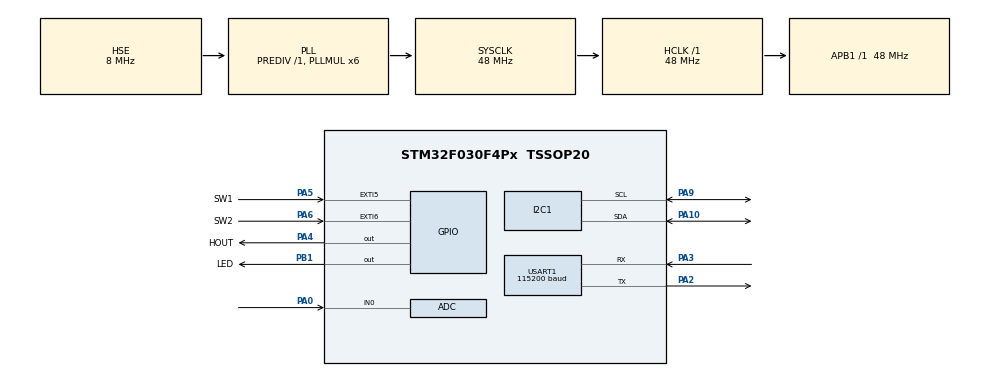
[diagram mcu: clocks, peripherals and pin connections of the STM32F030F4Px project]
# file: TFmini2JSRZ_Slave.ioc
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ADC.ClockPrescaler=ADC_CLOCK_ASYNC_DIV1
ADC.ContinuousConvMode=ENABLE
ADC.DMAContinuousRequests=ENABLE
ADC.DataAlign=ADC_DATAALIGN_RIGHT
ADC.DiscontinuousConvMode=DISABLE
ADC.EOCSelection=ADC_EOC_SINGLE_CONV
ADC.EnableAnalogWatchDog=false
ADC.ExternalTrigConv=ADC_SOFTWARE_START
ADC.ExternalTrigConvEdge=ADC_EXTERNALTRIGCONVEDGE_NONE
ADC.LowPowerAutoPowerOff=DISABLE
ADC.LowPowerAutoWait=DISABLE
ADC.Overrun=ADC_OVR_DATA_PRESERVED
ADC.Resolution=ADC_RESOLUTION_12B
ADC.SamplingTime=ADC_SAMPLETIME_13CYCLES_5
ADC.ScanConvMode=ADC_SCAN_DIRECTION_FORWARD
Dma.ADC.0.Direction=DMA_PERIPH_TO_MEMORY
Dma.ADC.0.Instance=DMA1_Channel1
Dma.ADC.0.MemDataAlignment=DMA_MDATAALIGN_WORD
Dma.ADC.0.MemInc=DMA_MINC_ENABLE
Dma.ADC.0.Mode=DMA_CIRCULAR
Dma.ADC.0.PeriphDataAlignment=DMA_PDATAALIGN_WORD
Dma.ADC.0.PeriphInc=DMA_PINC_DISABLE
Dma.ADC.0.Priority=DMA_PRIORITY_LOW
Dma.Request0=ADC
I2C1.I2C_Fall_Time=100
I2C1.I2C_Rise_Time=100
I2C1.OwnAddress=0x59
I2C1.Timing=0x00201D2B
Mcu.Family=STM32F0
Mcu.Name=STM32F030F4Px
Mcu.Package=TSSOP20
NVIC.DMA1_Channel1_IRQn=true\:0\:0\:false\:false\:true\:false
NVIC.EXTI4_15_IRQn=true\:2\:0\:true\:false\:true\:true
NVIC.I2C1_IRQn=true\:1\:0\:true\:false\:true\:true
NVIC.TIM14_IRQn=true\:3\:0\:true\:false\:true\:true
NVIC.USART1_IRQn=true\:0\:0\:false\:false\:true\:true
PA0.Mode=IN0
PA0.Signal=ADC_IN0
PA10.Mode=I2C
PA10.Signal=I2C1_SDA
PA13.Mode=Serial_Wire
PA13.Signal=SYS_SWDIO
PA14.Mode=Serial_Wire
PA14.Signal=SYS_SWCLK
PA2.Mode=Asynchronous
PA2.Signal=USART1_TX
PA3.Mode=Asynchronous
PA3.Signal=USART1_RX
PA4.GPIO_Label=HOUT
PA4.GPIO_PuPd=GPIO_NOPULL
PA4.Signal=GPIO_Output
PA5.GPIO_Label=SW1
PA5.GPIO_ModeDefaultEXTI=GPIO_MODE_IT_RISING_FALLING
PA5.GPIO_PuPd=GPIO_PULLUP
PA5.Signal=GPXTI5
PA6.GPIO_Label=SW2
PA6.GPIO_ModeDefaultEXTI=GPIO_MODE_IT_RISING_FALLING
PA6.GPIO_PuPd=GPIO_PULLUP
PA6.Signal=GPXTI6
PA9.Mode=I2C
PA9.Signal=I2C1_SCL
PB1.GPIO_Label=LED
PB1.Signal=GPIO_Output
PF0-OSC_IN.Mode=HSE-External-Oscillator
PF0-OSC_IN.Signal=RCC_OSC_IN
PF1-OSC_OUT.Mode=HSE-External-Oscillator
PF1-OSC_OUT.Signal=RCC_OSC_OUT
ProjectManager.HeapSize=0x200
ProjectManager.StackSize=0x400
ProjectManager.TargetToolchain=MDK-ARM V5
RCC.AHBFreq_Value=48000000
RCC.APB1Freq_Value=48000000
RCC.APB1TimFreq_Value=48000000
RCC.HCLKFreq_Value=48000000
RCC.PLLMUL=RCC_PLL_MUL6
RCC.PLLSourceVirtual=RCC_PLLSOURCE_HSE
RCC.SYSCLKFreq_VALUE=48000000
RCC.SYSCLKSource=RCC_SYSCLKSOURCE_PLLCLK
TIM14.Period=10-1
TIM14.Prescaler=4800-1
USART1.BaudRate=115200
USART1.VirtualMode-Asynchronous=VM_ASYNC
VP_TIM14_VS_ClockSourceINT.Mode=Enable_Timer
board=TFmini2JSRZ_Slave

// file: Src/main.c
/**
  ******************************************************************************
  * File Name          : main.c
  * Description        : Main program body
  ******************************************************************************
  ** This notice applies to any and all portions of this file
  * that are not between comment pairs USER CODE BEGIN and
  * USER CODE END. Other portions of this file, whether
  * inserted by the user or by software development tools
  * are owned by their respective copyright owners.
  *
  * COPYRIGHT(c) 2018 STMicroelectronics
  *
  * Redistribution and use in source and binary forms, with or without modification,
  * are permitted provided that the following conditions are met:
  *   1. Redistributions of source code must retain the above copyright notice,
  *      this list of conditions and the following disclaimer.
  *   2. Redistributions in binary form must reproduce the above copyright notice,
  *      this list of conditions and the following disclaimer in the documentation
  *      and/or other materials provided with the distribution.
  *   3. Neither the name of STMicroelectronics nor the names of its contributors
  *      may be used to endorse or promote products derived from this software
  *      without specific prior written permission.
  *
  * THIS SOFTWARE IS PROVIDED BY THE COPYRIGHT HOLDERS AND CONTRIBUTORS "AS IS"
  * AND ANY EXPRESS OR IMPLIED WARRANTIES, INCLUDING, BUT NOT LIMITED TO, THE
  * IMPLIED WARRANTIES OF MERCHANTABILITY AND FITNESS FOR A PARTICULAR PURPOSE ARE
  * DISCLAIMED. IN NO EVENT SHALL THE COPYRIGHT HOLDER OR CONTRIBUTORS BE LIABLE
  * FOR ANY DIRECT, INDIRECT, INCIDENTAL, SPECIAL, EXEMPLARY, OR CONSEQUENTIAL
  * DAMAGES (INCLUDING, BUT NOT LIMITED TO, PROCUREMENT OF SUBSTITUTE GOODS OR
  * SERVICES; LOSS OF USE, DATA, OR PROFITS; OR BUSINESS INTERRUPTION) HOWEVER
  * CAUSED AND ON ANY THEORY OF LIABILITY, WHETHER IN CONTRACT, STRICT LIABILITY,
  * OR TORT (INCLUDING NEGLIGENCE OR OTHERWISE) ARISING IN ANY WAY OUT OF THE USE
  * OF THIS SOFTWARE, EVEN IF ADVISED OF THE POSSIBILITY OF SUCH DAMAGE.
  *
  ******************************************************************************
  */
#include "main.h"
#include "stm32f0xx_hal.h"
#include "adc.h"
#include "dma.h"
#include "i2c.h"
#include "tim.h"
#include "usart.h"
#include "gpio.h"

/* USER CODE BEGIN Includes */
#include "bsp.h"
/* USER CODE END Includes */

/* USER CODE BEGIN PV */
/* Private variables ---------------------------------------------------------*/
//#define I2C_ADDRESS 0x0059

uint8_t i2cRxBuffer[2];
uint8_t i2cBuffer[4];

uint8_t rx1Buffer[1];	//串口1 Buffer

softTimer softTimer0 = {0, 0};
softTimer softTimer1 = {0, 0};

TFmini tfminiOne = {0, 0, 0};

uint32_t adcValue[10];

//距离阈值
uint32_t distTV = 200;	//distance threshold value = 200cm
uint32_t RP = 0;	//电位器adc值对应的cm.
#define TV_S 200
#define TV_M 300
#define TV_L 500

/* USER CODE END PV */

void SystemClock_Config(void);

/* USER CODE BEGIN PFP */
/* Private function prototypes -----------------------------------------------*/

/* USER CODE END PFP */

int main(void)
{

  /* USER CODE BEGIN 1 */
	for(uint32_t j = 0; j < 2000000L; j++){}
  /* USER CODE END 1 */

  /* MCU Configuration----------------------------------------------------------*/

  /* Reset of all peripherals, Initializes the Flash interface and the Systick. */
  HAL_Init();

  /* Configure the system clock */
  SystemClock_Config();

  /* Initialize all configured peripherals */
  MX_GPIO_Init();
  MX_DMA_Init();
  MX_I2C1_Init();
  MX_USART1_UART_Init();
  MX_ADC_Init();
  MX_TIM14_Init();

  /* USER CODE BEGIN 2 */

	//I2C
	//i2cReadConfig(I2C_ADDRESS);
	//HAL_I2C_Slave_Transmit_IT(&hi2c1, (uint8_t*)i2cBuffer, 4);

	//TIM14, Timer Clock, 48MHz(48 000 000)
	//Prescaler 4800 - 1, Counter Period 10 - 1, 定时1ms
	HAL_TIM_Base_Start_IT(&htim14);	//开中断

	//adc0
	HAL_ADC_Start_DMA(&hadc, adcValue, 10);

	//HOUT
	HAL_GPIO_WritePin(HOUT_GPIO_Port, HOUT_Pin, GPIO_PIN_SET);	//初始HOUT输出高
	ledOff();

		//softTimer: 1s
//	softTimer0.msSet = 100;
//	softTimer0.enable = 1;

	//串口测试, 115200bps, TX-PC, RX-TFmini
	//printf("Hello, JSRZ!\r\n");
	HAL_UART_Receive_IT(&huart1, (uint8_t *)rx1Buffer, 1);

	HAL_Delay(22);

	//I2C
	HAL_I2C_Slave_Receive_IT(&hi2c1, i2cRxBuffer, 1);

  /* USER CODE END 2 */

  /* Infinite loop */
  while (1)
  {

  /* USER CODE BEGIN 3 */

		//每100ms获取一次电位器的值, 打印距离和阈值
		if(softTimer0.enable == 0) {
			softTimer0.msSet = 100;
			softTimer0.enable = 1;

			uint32_t adc0 = 0;
			uint32_t i = 0;
			for(i = 0; i < 10;) {
				adc0 += adcValue[i++];
			}
			adc0 /= 10;
			RP = adc0 * 1200 / 4096;	//cm, 0~1200
			RP = RP < 30 ? 30 : RP;	//cm, 30~1200

		}	//end softTimer0

		//根据拨码开关设定阈值
		if(HAL_GPIO_ReadPin(SW1_GPIO_Port, SW1_Pin) == GPIO_PIN_SET) {	//off 0
			if(HAL_GPIO_ReadPin(SW2_GPIO_Port, SW2_Pin) == GPIO_PIN_SET) {	//00
				//电位器的值
				distTV = RP;
			} else {	//01
				distTV = TV_S;
			}
		} else {
			if(HAL_GPIO_ReadPin(SW2_GPIO_Port, SW2_Pin) == GPIO_PIN_SET) {	//10
				distTV = TV_M;
			} else {	//11
				distTV = TV_L;
			}
		}

		//TFmini数据测试
		if(tfminiOne.receiveComplete == 1) {
			tfminiOne.receiveComplete = 0;
			//printf("(%d, %d)\r\n", tfminiOne.distance, tfminiOne.strength);
			//printf("(%d, %d)\r\n", tfminiOne.distance, distTV);
			i2cBuffer[0] = tfminiOne.distance % 256;
			i2cBuffer[1] = tfminiOne.distance / 256;
			i2cBuffer[2] = tfminiOne.strength % 256;
			i2cBuffer[3] = tfminiOne.strength / 256;
			//printf("(distance: %d cm, threshold: %d cm, %d)\r\n", tfminiOne.distance, distTV, i2cBuffer[0]);
			//printf("(%d, %d)\r\n", tfminiOne.distance, distTV);
		} else if(softTimer0.msSet == 50 && tfminiOne.distance == 0) {
			//printf("(%d, %d)\r\n", tfminiOne.distance, distTV);
			//printf("(distance: %d cm, threshold: %d cm)\r\n", tfminiOne.distance, distTV);
		} else {
		}

		//阈值处理
		//大于阈值输出低, 小于阈值输出高.
		//TFmini: 30~1200cm, 10cm用来消抖
		static uint8_t outStatus = 0;
		if(tfminiOne.distance > 30 && tfminiOne.distance > distTV + 15) {
			outStatus = 1;
			HAL_GPIO_WritePin(HOUT_GPIO_Port, HOUT_Pin, GPIO_PIN_RESET);	//HOUT输出低
			ledOn();
			softTimer1.msSet = 200;
			softTimer1.enable = 1;
		} else if(softTimer1.enable == 0 && outStatus == 1 && tfminiOne.distance < distTV + 5) {
			outStatus = 0;
			HAL_GPIO_WritePin(HOUT_GPIO_Port, HOUT_Pin, GPIO_PIN_SET);	//HOUT输出高
			ledOff();
		} else {
		}

  }
  /* USER CODE END 3 */

}

/** System Clock Configuration
*/
void SystemClock_Config(void)
{

  RCC_OscInitTypeDef RCC_OscInitStruct;
  RCC_ClkInitTypeDef RCC_ClkInitStruct;
  RCC_PeriphCLKInitTypeDef PeriphClkInit;

    /**Initializes the CPU, AHB and APB busses clocks
    */
  RCC_OscInitStruct.OscillatorType = RCC_OSCILLATORTYPE_HSI|RCC_OSCILLATORTYPE_HSI14
                              |RCC_OSCILLATORTYPE_HSE;
  RCC_OscInitStruct.HSEState = RCC_HSE_ON;
  RCC_OscInitStruct.HSIState = RCC_HSI_ON;
  RCC_OscInitStruct.HSI14State = RCC_HSI14_ON;
  RCC_OscInitStruct.HSICalibrationValue = 16;
  RCC_OscInitStruct.HSI14CalibrationValue = 16;
  RCC_OscInitStruct.PLL.PLLState = RCC_PLL_ON;
  RCC_OscInitStruct.PLL.PLLSource = RCC_PLLSOURCE_HSE;
  RCC_OscInitStruct.PLL.PLLMUL = RCC_PLL_MUL6;
  RCC_OscInitStruct.PLL.PREDIV = RCC_PREDIV_DIV1;
  if (HAL_RCC_OscConfig(&RCC_OscInitStruct) != HAL_OK)
  {
    _Error_Handler(__FILE__, __LINE__);
  }

    /**Initializes the CPU, AHB and APB busses clocks
    */
  RCC_ClkInitStruct.ClockType = RCC_CLOCKTYPE_HCLK|RCC_CLOCKTYPE_SYSCLK
                              |RCC_CLOCKTYPE_PCLK1;
  RCC_ClkInitStruct.SYSCLKSource = RCC_SYSCLKSOURCE_PLLCLK;
  RCC_ClkInitStruct.AHBCLKDivider = RCC_SYSCLK_DIV1;
  RCC_ClkInitStruct.APB1CLKDivider = RCC_HCLK_DIV1;

  if (HAL_RCC_ClockConfig(&RCC_ClkInitStruct, FLASH_LATENCY_1) != HAL_OK)
  {
    _Error_Handler(__FILE__, __LINE__);
  }

  PeriphClkInit.PeriphClockSelection = RCC_PERIPHCLK_USART1|RCC_PERIPHCLK_I2C1;
  PeriphClkInit.Usart1ClockSelection = RCC_USART1CLKSOURCE_PCLK1;
  PeriphClkInit.I2c1ClockSelection = RCC_I2C1CLKSOURCE_HSI;
  if (HAL_RCCEx_PeriphCLKConfig(&PeriphClkInit) != HAL_OK)
  {
    _Error_Handler(__FILE__, __LINE__);
  }

    /**Configure the Systick interrupt time
    */
  HAL_SYSTICK_Config(HAL_RCC_GetHCLKFreq()/1000);

    /**Configure the Systick
    */
  HAL_SYSTICK_CLKSourceConfig(SYSTICK_CLKSOURCE_HCLK);

  /* SysTick_IRQn interrupt configuration */
  HAL_NVIC_SetPriority(SysTick_IRQn, 0, 0);
}

/* USER CODE BEGIN 4 */

//I2C中断
void HAL_I2C_SlaveRxCpltCallback(I2C_HandleTypeDef *hi2c) {
	UNUSED(hi2c);
	if(hi2c == &hi2c1) {
		if(i2cRxBuffer[0] == 0x42) {
			//while(HAL_I2C_GetState(&hi2c1) != HAL_I2C_STATE_READY){}
			HAL_I2C_Slave_Transmit(&hi2c1, i2cBuffer, 4, 10);
		}

	}
	HAL_I2C_Slave_Receive_IT(&hi2c1, i2cRxBuffer, 1);
}

//串口中断
void HAL_UART_RxCpltCallback(UART_HandleTypeDef *huart) {
	UNUSED(huart);

	if(huart == &huart1) {
		__HAL_UART_CLEAR_PEFLAG(&huart1);
		HAL_UART_Receive_IT(&huart1, rx1Buffer, 1);
		//HAL_UART_Transmit(&huart1, rx1Buffer, 1, 10);	//echo
		getTFminiOneData(&tfminiOne, rx1Buffer[0]);
	}	//end huart1
}

//htim14中断, 1ms一次
void HAL_TIM_PeriodElapsedCallback(TIM_HandleTypeDef *htim) {
	if(htim == &htim14) {
		if((softTimer0.enable==1) && (softTimer0.msSet>0)) {
			--softTimer0.msSet;
			if(softTimer0.msSet==0) {
				softTimer0.enable = 0;
			}
		}	//softTimer0 end
		if((softTimer1.enable==1) && (softTimer1.msSet>0)) {
			--softTimer1.msSet;
			if(softTimer1.msSet==0) {
				softTimer1.enable = 0;
			}
		}	//softTimer1 end
	}	//end htim14
}

//拨码开关 上升下降沿中断, 这里没有用
void HAL_GPIO_EXTI_Callback(uint16_t GPIO_Pin) {
	if(GPIO_Pin == SW1_Pin) {
	} else if(GPIO_Pin == SW2_Pin)  {
	} else {
	}
}

/* USER CODE END 4 */

void _Error_Handler(char * file, int line)
{
  while(1)
  {
  }
}

/************************ (C) COPYRIGHT STMicroelectronics *****END OF FILE****/
